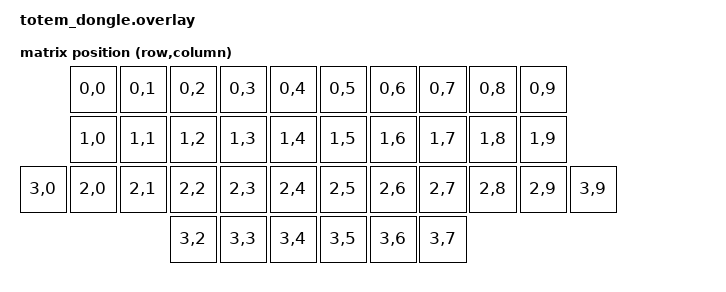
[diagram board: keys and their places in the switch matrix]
/*
 * Copyright (c) 2025 The ZMK Contributors
 *
 * SPDX-License-Identifier: MIT
 */
#include <dt-bindings/zmk/matrix_transform.h>
#include "totem_layouts.dtsi"

&geist_totem_layout {
    transform = <&default_transform>;
};

&xiao_spi {
    status = "okay";
    cs-gpios = <&xiao_d 9 GPIO_ACTIVE_LOW>;

    st7789: st7789@0 {
        compatible = "sitronix,st7789v";
        reg = <0>;
        spi-max-frequency = <20000000>;
        cmd-data-gpios = <&xiao_d 7 GPIO_ACTIVE_LOW>;
        reset-gpios = <&xiao_d 3 GPIO_ACTIVE_LOW>;
        width = <280>;
        height = <240>;
        x-offset = <0>;
        y-offset = <20>;
        vcom = <0x19>;
        gctrl = <0x35>;
        vrhs = <0x12>;
        vdvs = <0x20>;
        mdac = <0x60>;
        gamma = <0x01>;
        colmod = <0x05>;
        lcm = <0x2c>;
        porch-param = [0c 0c 00 33 33];
        cmd2en-param = [5a 69 02 01];
        pwctrl1-param = [a4 a1];
        pvgam-param = [D0 04 0D 11 13 2B 3F 54 4C 18 0D 0B 1F 23];
        nvgam-param = [D0 04 0C 11 13 2C 3F 44 51 2F 1F 1F 20 23];
        ram-param = [00 F0];
        rgb-param = [CD 08 14];
    };
};

&pinctrl {
    pwm0_default: pwm0_default {
        group1 {
            psels = <NRF_PSEL(PWM_OUT0, 0, 26)>;
        };
    };
    pwm0_sleep: pwm0_sleep {
        group1 {
            psels = <NRF_PSEL(PWM_OUT0, 0, 26)>;
            low-power-enable;
        };
    };
};

&pwm0 {
    status = "okay";
    pinctrl-0 = <&pwm0_default>;
    pinctrl-1 = <&pwm0_sleep>;
    pinctrl-names = "default", "sleep";
};

/ {
    chosen {
        zmk,kscan = &mock_kscan;
        zmk,physical-layout = &geist_totem_layout;
    };

    mock_kscan: mock_kscan_0 {
        compatible = "zmk,kscan-mock";
        columns = <0>;
        rows = <0>;
        events = <0>;
    };

    default_transform: keymap_transform_0 {
        compatible = "zmk,matrix-transform";
        columns = <10>;
        rows = <4>;
        map = 
                RC(0,0) RC(0,1) RC(0,2) RC(0,3) RC(0,4)    RC(0,5) RC(0,6) RC(0,7) RC(0,8) RC(0,9)
                RC(1,0) RC(1,1) RC(1,2) RC(1,3) RC(1,4)    RC(1,5) RC(1,6) RC(1,7) RC(1,8) RC(1,9)
        RC(3,0) RC(2,0) RC(2,1) RC(2,2) RC(2,3) RC(2,4)    RC(2,5) RC(2,6) RC(2,7) RC(2,8) RC(2,9) RC(3,9)
                                RC(3,2) RC(3,3) RC(3,4)    RC(3,5) RC(3,6) RC(3,7)
        >;
    };

    pwmleds {
        compatible = "pwm-leds";
        disp_bl: disp_bl {
            pwms = <&pwm0 0 PWM_MSEC(20) PWM_POLARITY_NORMAL>;
        };
    };
};
